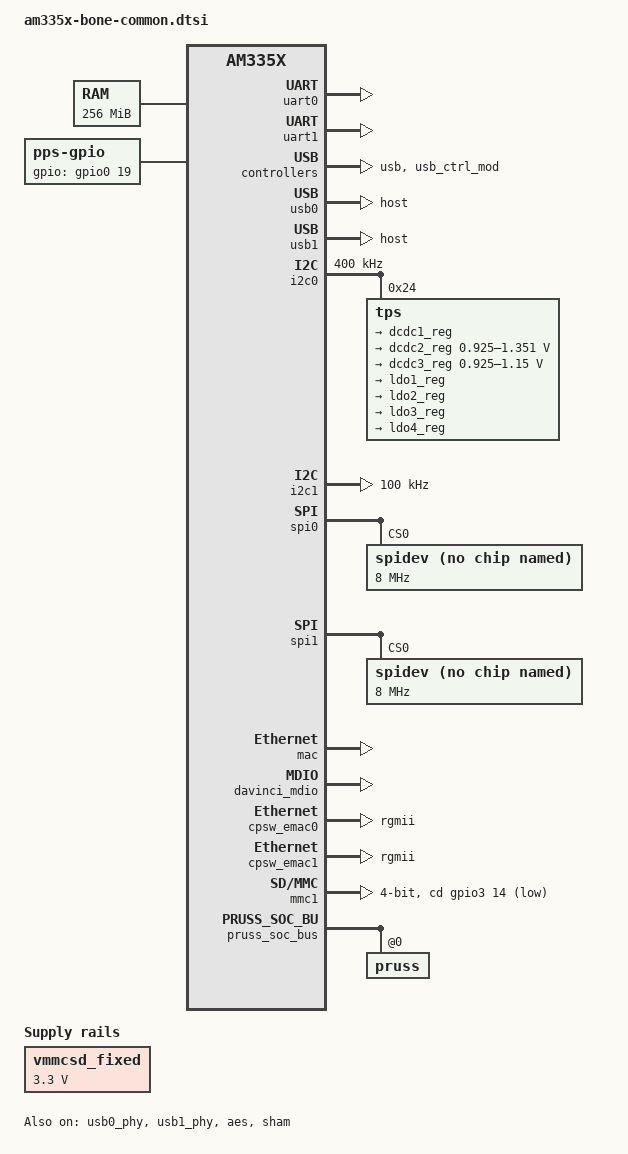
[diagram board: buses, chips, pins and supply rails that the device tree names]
/*
 * Copyright (C) 2012 Texas Instruments Incorporated - http://www.ti.com/
 *
 * This program is free software; you can redistribute it and/or modify
 * it under the terms of the GNU General Public License version 2 as
 * published by the Free Software Foundation.
 */

/ {
	cpus {
		cpu@0 {
			cpu0-supply = <&dcdc2_reg>;
		};
	};

	memory@80000000 {
		device_type = "memory";
		reg = <0x80000000 0x10000000>; /* 256 MB */
	};

	chosen {
		stdout-path = &uart0;
	};
	pps {
		pinctrl-names = "default";
		gpios = <&gpio0 19 GPIO_ACTIVE_HIGH>;
		assert-rising-edge;

		compatible = "pps-gpio";
		status = "okay";
	};

	leds {
		pinctrl-names = "default";
		pinctrl-0 = <&user_leds_s0>;

		compatible = "gpio-leds";

		/*led2 {
			label = "beaglebone:green:heartbeat";
			gpios = <&gpio3 16 GPIO_ACTIVE_LOW>;
			linux,default-trigger = "heartbeat";
			default-state = "off";
		};*/

		/*led3 {
			label = "beaglebone:green:mmc0";
			gpios = <&gpio3 17 GPIO_ACTIVE_LOW>;
			linux,default-trigger = "mmc0";
			default-state = "off";
		};*/

		/*led4 {
			label = "beaglebone:green:usr2";
			gpios = <&gpio3 19 GPIO_ACTIVE_LOW>;
			linux,default-trigger = "cpu0";
			default-state = "off";
		};*/
	};
	
    /*gpio_buttons: gpio_buttons0 {
		compatible = "gpio-keys";
		#address-cells = <1>;
		#size-cells = <0>;

		switch1 {
			label = "button0";
			linux,code = <0x100>;
			gpios = <&gpio0 18 GPIO_ACTIVE_LOW>;
		};

		switch2 {
			label = "button1";
			linux,code = <0x101>;
			gpios = <&gpio0 20 GPIO_ACTIVE_LOW>;
		};

		switch3 {
			label = "button2";
			linux,code = <0x102>;
			gpios = <&gpio3 13 GPIO_ACTIVE_LOW>;
		};

		switch4 {
			label = "button3";
			linux,code = <0x103>;
			gpios = <&gpio3 20 GPIO_ACTIVE_LOW>;
		};
	};*/

	vmmcsd_fixed: fixedregulator0 {
		compatible = "regulator-fixed";
		regulator-name = "vmmcsd_fixed";
		regulator-min-microvolt = <3300000>;
		regulator-max-microvolt = <3300000>;
	};
};

&am33xx_pinmux {
	pinctrl-names = "default";
	pinctrl-0 = <&gpio_keys_s0 &clkout1_pin>;

	user_leds_s0: user_leds_s0 {
		pinctrl-single,pins = <
			/*AM33XX_IOPAD(0x998, PIN_OUTPUT_PULLDOWN | MUX_MODE7)*/	/* mcasp0_axr0.gpio3_16 */
			/*AM33XX_IOPAD(0x99c, PIN_OUTPUT_PULLDOWN | MUX_MODE7)*/	/* mcasp0_ahclkr.gpio3_17 */
			/*AM33XX_IOPAD(0x9a4, PIN_OUTPUT_PULLDOWN | MUX_MODE7)*/	/* mcasp0_fsr.gpio3_19 */
			AM33XX_IOPAD(0x9a0, PIN_INPUT_PULLUP | MUX_MODE7)	/* mcasp0_aclkr.gpio3_18 RGMII1_nRST*/
			AM33XX_IOPAD(0x998, PIN_INPUT_PULLUP | MUX_MODE7)	/* mcasp0_axr0.gpio3_16  RGMII2_nRST*/
			AM33XX_IOPAD(0xa1c, PIN_INPUT_PULLUP | MUX_MODE7)	/* usb0_drvvbus.gpio0_18 RESET_GPS*/
			AM33XX_IOPAD(0xa34, PIN_INPUT_PULLUP | MUX_MODE7)	/* usb1_drvvbus.gpio3_13 EXTINT_GPS*/
			AM33XX_IOPAD(0x820, PIN_INPUT_PULLUP | MUX_MODE7)	/* gpmc_ad8.gpio0_22 PWM2A*/
			AM33XX_IOPAD(0x824, PIN_INPUT_PULLUP | MUX_MODE7)	/* gpmc_ad9.gpio0_23 PWM2B*/
		>;
	};
	
	gpio_keys_s0: gpio_keys_s0 {
		pinctrl-single,pins = <
		    AM33XX_IOPAD(0x99c, PIN_INPUT_PULLUP | MUX_MODE7)	/* mcasp0_ahclkr.gpio3_17 S1 */
		    AM33XX_IOPAD(0x8e0, PIN_INPUT_PULLUP | MUX_MODE7)	/* lcd_vsync.gpio2_22  S2 */
		    AM33XX_IOPAD(0x8e8, PIN_INPUT_PULLUP | MUX_MODE7)	/* lcd_pclk.gpio2_24   S3 */
		    AM33XX_IOPAD(0x8a8, PIN_INPUT_PULLUP | MUX_MODE7)	/* lcd_data2.gpio2_8   S4 */
		
			AM33XX_IOPAD(0x830, PIN_INPUT_PULLUP | MUX_MODE7)	/* gpmc_ad12.gpio1_12 1DO */
			AM33XX_IOPAD(0x82c, PIN_INPUT_PULLUP | MUX_MODE7)	/* gpmc_ad11.gpio0_27 2DO */
			AM33XX_IOPAD(0x888, PIN_INPUT_PULLUP | MUX_MODE7)	/* gpmc_csn3.gpio2_0  3DO */
			AM33XX_IOPAD(0x88c, PIN_INPUT_PULLUP | MUX_MODE7)	/* gpmc_clk.gpio2_1   4DO */
			
			AM33XX_IOPAD(0x8e4, PIN_INPUT_PULLUP | MUX_MODE7)	/* lcd_hsync.gpio2_23       1DI */
			AM33XX_IOPAD(0x8ec, PIN_INPUT_PULLUP | MUX_MODE7)	/* lcd_ac_bias_en.gpio2_25  2DI */
			AM33XX_IOPAD(0x890, PIN_INPUT_PULLUP | MUX_MODE7)	/* gpmc_advn_ale.gpio2_2    3DI */
			AM33XX_IOPAD(0x834, PIN_INPUT_PULLUP | MUX_MODE7)	/* gpmc_ad13.gpio1_13       4DI */
			
			AM33XX_IOPAD(0x87c, PIN_INPUT_PULLUP | MUX_MODE7)	/* gpmc_csn0.gpio1_29       SX1301_RESET */
			AM33XX_IOPAD(0x994, PIN_INPUT_PULLUP | MUX_MODE7)	/* mcasp0_fsx.gpio3_15      SX1301_GPIO4 */
			AM33XX_IOPAD(0x9a4, PIN_INPUT_PULLUP | MUX_MODE7)	/* mcasp0_fsr.gpio3_19      SX1301_GPIO3 */
			AM33XX_IOPAD(0x9a8, PIN_INPUT_PULLUP | MUX_MODE7)	/* mcasp0_axr1.gpio3_20     SX1301_GPIO2 */
			AM33XX_IOPAD(0x9b4, PIN_INPUT_PULLUP | MUX_MODE7)	/* xdma_event_intr1.gpio0_20 SX1301_GPIO0 */
			AM33XX_IOPAD(0x9ac, PIN_INPUT_PULLUP | MUX_MODE7)	/* mcasp0_ahclkx.gpio3_21   SX1301_GPIO1 */
		>;
	};

	i2c0_pins: pinmux_i2c0_pins {
		pinctrl-single,pins = <
			AM33XX_IOPAD(0x988, PIN_INPUT_PULLUP | MUX_MODE0)	/* i2c0_sda.i2c0_sda */
			AM33XX_IOPAD(0x98c, PIN_INPUT_PULLUP | MUX_MODE0)	/* i2c0_scl.i2c0_scl */
		>;
	};

	i2c1_pins: pinmux_i2c1_pins {
		pinctrl-single,pins = <
			AM33XX_IOPAD(0x968, PIN_INPUT_PULLUP | MUX_MODE3)	/* uart0_ctsn.i2c1_sda */
			AM33XX_IOPAD(0x96c, PIN_INPUT_PULLUP | MUX_MODE3)	/* uart0_rtsn.i2c1_scl */
		>;
	};

	uart0_pins: pinmux_uart0_pins {
		pinctrl-single,pins = <
			AM33XX_IOPAD(0x970, PIN_INPUT_PULLUP | MUX_MODE0)	/* uart0_rxd.uart0_rxd */
			AM33XX_IOPAD(0x974, PIN_OUTPUT_PULLDOWN | MUX_MODE0)	/* uart0_txd.uart0_txd */
		>;
	};
	
	uart1_pins: pinmux_uart1_pins {
		pinctrl-single,pins = <
			AM33XX_IOPAD(0x980, PIN_INPUT_PULLUP | MUX_MODE0)	/* uart1_rxd.uart1_rxd */
			AM33XX_IOPAD(0x984, PIN_OUTPUT_PULLDOWN | MUX_MODE0)	/* uart1_txd.uart1_txd */
		>;
	};
	
	spi0_pins: pinmux_spi0_pins {
		pinctrl-single,pins = <
			AM33XX_IOPAD(0x950, PIN_INPUT_PULLUP | MUX_MODE0) /* spi0_sclk.spi0_sclk */
			AM33XX_IOPAD(0x95C, PIN_INPUT_PULLUP | MUX_MODE0) /* spi0_cs0.spi0_cs0 */
			AM33XX_IOPAD(0x954, PIN_INPUT_PULLUP | MUX_MODE0) /* spi0_d0.spi0_d0 */
			AM33XX_IOPAD(0x958, PIN_INPUT_PULLUP | MUX_MODE0) /* spi0_d1.spi0_d1 */
		>;
	};
	
    spi1_pins: pinmux_spi1_pins {
		pinctrl-single,pins = <
			AM33XX_IOPAD(0x908, PIN_INPUT_PULLUP | MUX_MODE2) /* mii1_col.spi1_sclk */
			AM33XX_IOPAD(0x944, PIN_INPUT_PULLUP | MUX_MODE2) /* rmii1_ref_clk.spi1_cs0 */
			AM33XX_IOPAD(0x90c, PIN_INPUT_PULLUP | MUX_MODE2) /* mii1_crs.spi1_d0 */
			AM33XX_IOPAD(0x910, PIN_INPUT_PULLUP | MUX_MODE2) /* mii1_rx_er.spi0_d1 */
		>;
	};
	
	clkout1_pin: pinmux_clkout1_pin {
		pinctrl-single,pins = <
			AM33XX_IOPAD(0x9b0, PIN_INPUT_PULLUP | MUX_MODE7)	/* xdma_event_intr0.gpio0_19 */
		>;
	};

	cpsw_default: cpsw_default {
		pinctrl-single,pins = <
			/* Slave 1 */
			AM33XX_IOPAD(0x914, PIN_OUTPUT_PULLDOWN | MUX_MODE2)	/* mii1_txen.rgmii1_tctl */
			AM33XX_IOPAD(0x918, PIN_INPUT_PULLDOWN | MUX_MODE2)	    /* mii1_rxdv.rgmii1_rctl */
			AM33XX_IOPAD(0x91c, PIN_OUTPUT_PULLDOWN | MUX_MODE2)	/* mii1_txd3.rgmii1_td3 */
			AM33XX_IOPAD(0x920, PIN_OUTPUT_PULLDOWN | MUX_MODE2)	/* mii1_txd2.rgmii1_td2 */
			AM33XX_IOPAD(0x924, PIN_OUTPUT_PULLDOWN | MUX_MODE2)	/* mii1_txd1.rgmii1_td1 */
			AM33XX_IOPAD(0x928, PIN_OUTPUT_PULLDOWN | MUX_MODE2)	/* mii1_txd0.rgmii1_td0 */
			AM33XX_IOPAD(0x92c, PIN_OUTPUT_PULLDOWN | MUX_MODE2)	/* mii1_txclk.rgmii1_tclk */
			AM33XX_IOPAD(0x930, PIN_INPUT_PULLDOWN | MUX_MODE2)	/* mii1_rxclk.rgmii1_rclk */
			AM33XX_IOPAD(0x934, PIN_INPUT_PULLDOWN | MUX_MODE2)	/* mii1_rxd3.rgmii1_rd3 */
			AM33XX_IOPAD(0x938, PIN_INPUT_PULLDOWN | MUX_MODE2)	/* mii1_rxd2.rgmii1_rd2 */
			AM33XX_IOPAD(0x93c, PIN_INPUT_PULLDOWN | MUX_MODE2)	/* mii1_rxd1.rgmii1_rd1 */
			AM33XX_IOPAD(0x940, PIN_INPUT_PULLDOWN | MUX_MODE2)	/* mii1_rxd0.rgmii1_rd0 */
			
			/* Slave 2 */
			AM33XX_IOPAD(0x840, PIN_OUTPUT_PULLDOWN | MUX_MODE2)	/* gpmc_a0.rgmii2_tctl */
			AM33XX_IOPAD(0x844, PIN_INPUT_PULLDOWN | MUX_MODE2)	    /* gpmc_a1.rgmii2_rctl */
			AM33XX_IOPAD(0x848, PIN_OUTPUT_PULLDOWN | MUX_MODE2)    /* gpmc_a2.rgmii2_td3 */
			AM33XX_IOPAD(0x84c, PIN_OUTPUT_PULLDOWN | MUX_MODE2)	/* gpmc_a3.rgmii2_td2 */
			AM33XX_IOPAD(0x850, PIN_OUTPUT_PULLDOWN | MUX_MODE2)	/* gpmc_a4.rgmii2_td1 */
			AM33XX_IOPAD(0x854, PIN_OUTPUT_PULLDOWN | MUX_MODE2)	/* gpmc_a5.rgmii2_td0 */
			AM33XX_IOPAD(0x858, PIN_OUTPUT_PULLDOWN | MUX_MODE2)	/* gpmc_a6.rgmii2_tclk */
			AM33XX_IOPAD(0x85c, PIN_INPUT_PULLDOWN | MUX_MODE2)	/* gpmc_a7.rgmii2_rclk */
			AM33XX_IOPAD(0x860, PIN_INPUT_PULLDOWN | MUX_MODE2)	/* gpmc_a8.rgmii2_rd3 */
			AM33XX_IOPAD(0x864, PIN_INPUT_PULLDOWN | MUX_MODE2)	/* gpmc_a9.rgmii2_rd2 */
			AM33XX_IOPAD(0x868, PIN_INPUT_PULLDOWN | MUX_MODE2)	/* gpmc_a10.rgmii2_rd1 */
			AM33XX_IOPAD(0x86c, PIN_INPUT_PULLDOWN | MUX_MODE2)	/* gpmc_a11.rgmii2_rd0 */
		>;
	};
	
	cpsw_sleep: cpsw_sleep {
		pinctrl-single,pins = <
			/* Slave 1 reset value */
			AM33XX_IOPAD(0x914, PIN_INPUT_PULLDOWN | MUX_MODE7)
			AM33XX_IOPAD(0x918, PIN_INPUT_PULLDOWN | MUX_MODE7)
			AM33XX_IOPAD(0x91c, PIN_INPUT_PULLDOWN | MUX_MODE7)
			AM33XX_IOPAD(0x920, PIN_INPUT_PULLDOWN | MUX_MODE7)
			AM33XX_IOPAD(0x924, PIN_INPUT_PULLDOWN | MUX_MODE7)
			AM33XX_IOPAD(0x928, PIN_INPUT_PULLDOWN | MUX_MODE7)
			AM33XX_IOPAD(0x92c, PIN_INPUT_PULLDOWN | MUX_MODE7)
			AM33XX_IOPAD(0x930, PIN_INPUT_PULLDOWN | MUX_MODE7)
			AM33XX_IOPAD(0x934, PIN_INPUT_PULLDOWN | MUX_MODE7)
			AM33XX_IOPAD(0x938, PIN_INPUT_PULLDOWN | MUX_MODE7)
			AM33XX_IOPAD(0x93c, PIN_INPUT_PULLDOWN | MUX_MODE7)
			AM33XX_IOPAD(0x940, PIN_INPUT_PULLDOWN | MUX_MODE7)
			
			/* Slave 2 reset value*/
			AM33XX_IOPAD(0x840, PIN_INPUT_PULLDOWN | MUX_MODE7)
			AM33XX_IOPAD(0x844, PIN_INPUT_PULLDOWN | MUX_MODE7)
			AM33XX_IOPAD(0x848, PIN_INPUT_PULLDOWN | MUX_MODE7)
			AM33XX_IOPAD(0x84c, PIN_INPUT_PULLDOWN | MUX_MODE7)
			AM33XX_IOPAD(0x850, PIN_INPUT_PULLDOWN | MUX_MODE7)
			AM33XX_IOPAD(0x854, PIN_INPUT_PULLDOWN | MUX_MODE7)
			AM33XX_IOPAD(0x858, PIN_INPUT_PULLDOWN | MUX_MODE7)
			AM33XX_IOPAD(0x85c, PIN_INPUT_PULLDOWN | MUX_MODE7)
			AM33XX_IOPAD(0x860, PIN_INPUT_PULLDOWN | MUX_MODE7)
			AM33XX_IOPAD(0x864, PIN_INPUT_PULLDOWN | MUX_MODE7)
			AM33XX_IOPAD(0x868, PIN_INPUT_PULLDOWN | MUX_MODE7)
			AM33XX_IOPAD(0x86c, PIN_INPUT_PULLDOWN | MUX_MODE7)
		>;
	};

	davinci_mdio_default: davinci_mdio_default {
		pinctrl-single,pins = <
			/* MDIO */
			AM33XX_IOPAD(0x948, PIN_INPUT_PULLUP | SLEWCTRL_FAST | MUX_MODE0)	/* mdio_data.mdio_data */
			AM33XX_IOPAD(0x94c, PIN_OUTPUT_PULLUP | MUX_MODE0)			/* mdio_clk.mdio_clk */
		>;
	};

	davinci_mdio_sleep: davinci_mdio_sleep {
		pinctrl-single,pins = <
			/* MDIO reset value */
			AM33XX_IOPAD(0x948, PIN_INPUT_PULLDOWN | MUX_MODE7)
			AM33XX_IOPAD(0x94c, PIN_INPUT_PULLDOWN | MUX_MODE7)
		>;
	};

	mmc1_pins: pinmux_mmc1_pins {
		pinctrl-single,pins = <
			AM33XX_IOPAD(0x990, PIN_INPUT | MUX_MODE7)          /* mcasp0_aclkx.gpio3_14 */
			AM33XX_IOPAD(0x8fc, PIN_INPUT_PULLUP | MUX_MODE0)	/* mmc0_dat0.mmc0_dat0 */
			AM33XX_IOPAD(0x8f8, PIN_INPUT_PULLUP | MUX_MODE0)	/* mmc0_dat1.mmc0_dat1 */
			AM33XX_IOPAD(0x8f4, PIN_INPUT_PULLUP | MUX_MODE0)	/* mmc0_dat2.mmc0_dat2 */
			AM33XX_IOPAD(0x8f0, PIN_INPUT_PULLUP | MUX_MODE0)	/* mmc0_dat3.mmc0_dat3 */
			AM33XX_IOPAD(0x904, PIN_INPUT_PULLUP | MUX_MODE0)	/* mmc0_cmd.mmc0_cmd */
			AM33XX_IOPAD(0x900, PIN_INPUT_PULLUP | MUX_MODE0)	/* mmc0_clk.mmc0_clk */
		>;
	};

	emmc_pins: pinmux_emmc_pins {
		pinctrl-single,pins = <
			AM33XX_IOPAD(0x880, PIN_INPUT_PULLUP | MUX_MODE2) /* gpmc_csn1.mmc1_clk */
			AM33XX_IOPAD(0x884, PIN_INPUT_PULLUP | MUX_MODE2) /* gpmc_csn2.mmc1_cmd */
			AM33XX_IOPAD(0x800, PIN_INPUT_PULLUP | MUX_MODE1) /* gpmc_ad0.mmc1_dat0 */
			AM33XX_IOPAD(0x804, PIN_INPUT_PULLUP | MUX_MODE1) /* gpmc_ad1.mmc1_dat1 */
			AM33XX_IOPAD(0x808, PIN_INPUT_PULLUP | MUX_MODE1) /* gpmc_ad2.mmc1_dat2 */
			AM33XX_IOPAD(0x80c, PIN_INPUT_PULLUP | MUX_MODE1) /* gpmc_ad3.mmc1_dat3 */
			AM33XX_IOPAD(0x810, PIN_INPUT_PULLUP | MUX_MODE1) /* gpmc_ad4.mmc1_dat4 */
			AM33XX_IOPAD(0x814, PIN_INPUT_PULLUP | MUX_MODE1) /* gpmc_ad5.mmc1_dat5 */
			AM33XX_IOPAD(0x818, PIN_INPUT_PULLUP | MUX_MODE1) /* gpmc_ad6.mmc1_dat6 */
			AM33XX_IOPAD(0x81c, PIN_INPUT_PULLUP | MUX_MODE1) /* gpmc_ad7.mmc1_dat7 */
		>;
	};
};

&uart0 {
	pinctrl-names = "default";
	pinctrl-0 = <&uart0_pins>;

	status = "okay";
};

&uart1 {
	pinctrl-names = "default";
	pinctrl-0 = <&uart1_pins>;

	status = "okay";
};

&usb {
	status = "okay";
};

&usb_ctrl_mod {
	status = "okay";
};

&usb0_phy {
	status = "okay";
};

&usb1_phy {
	status = "okay";
};

&usb0 {
	status = "okay";
	dr_mode = "host";
};

&usb1 {
	status = "okay";
	dr_mode = "host";
};

&cppi41dma  {
	status = "okay";
};

&i2c0 {
	pinctrl-names = "default";
	pinctrl-0 = <&i2c0_pins>;

	status = "okay";
	clock-frequency = <400000>;

	tps: tps@24 {
		reg = <0x24>;
	};
};

&i2c1 {
	pinctrl-names = "default";
	pinctrl-0 = <&i2c1_pins>;

	status = "okay";
	clock-frequency = <100000>;
};

&spi0 {
	status = "okay";
	pinctrl-names = "default";
	pinctrl-0 = <&spi0_pins>;
	ti,pindir-d0-out-d1-in;
	spidev@1 {
        spi-max-frequency = <8000000>;
        reg = <0>;
        compatible = "rohm,dh2228fv";
    };
    
    /*spidev2: spi@2 {
		compatible = "spidev";
		reg = <0>;
		spi-max-frequency = <8000000>;
	};*/
};

&spi1 {
	status = "okay";
	pinctrl-names = "default";
	pinctrl-0 = <&spi1_pins>;
	ti,pindir-d0-out-d1-in;
	spidev@1 {
        spi-max-frequency = <8000000>;
        reg = <0>;
        compatible = "rohm,dh2228fv";
    };
    
    /*spidev2: spi@2 {
		compatible = "spidev";
		reg = <0>;
		spi-max-frequency = <8000000>;
	};*/
};


/include/ "tps65217.dtsi"

&tps {
	/*
	 * Configure pmic to enter OFF-state instead of SLEEP-state ("RTC-only
	 * mode") at poweroff.  Most BeagleBone versions do not support RTC-only
	 * mode and risk hardware damage if this mode is entered.
	 *
	 * For details, see linux-omap mailing list May 2015 thread
	 *	[PATCH] ARM: dts: am335x-bone* enable pmic-shutdown-controller
	 * In particular, messages:
	 *	http://www.spinics.net/lists/linux-omap/msg118585.html
	 *	http://www.spinics.net/lists/linux-omap/msg118615.html
	 *
	 * You can override this later with
	 *	&tps {  /delete-property/ ti,pmic-shutdown-controller;  }
	 * if you want to use RTC-only mode and made sure you are not affected
	 * by the hardware problems. (Tip: double-check by performing a current
	 * measurement after shutdown: it should be less than 1 mA.)
	 */

	interrupts = <7>; /* NMI */
	interrupt-parent = <&intc>;

	ti,pmic-shutdown-controller;

	charger {
		status = "okay";
	};

	pwrbutton {
		status = "okay";
	};

	regulators {
		dcdc1_reg: regulator@0 {
			regulator-name = "vdds_dpr";
			regulator-always-on;
		};

		dcdc2_reg: regulator@1 {
			/* VDD_MPU voltage limits 0.95V - 1.26V with +/-4% tolerance */
			regulator-name = "vdd_mpu";
			regulator-min-microvolt = <925000>;
			regulator-max-microvolt = <1351500>;
			regulator-boot-on;
			regulator-always-on;
		};

		dcdc3_reg: regulator@2 {
			/* VDD_CORE voltage limits 0.95V - 1.1V with +/-4% tolerance */
			regulator-name = "vdd_core";
			regulator-min-microvolt = <925000>;
			regulator-max-microvolt = <1150000>;
			regulator-boot-on;
			regulator-always-on;
		};

		ldo1_reg: regulator@3 {
			regulator-name = "vio,vrtc,vdds";
			regulator-always-on;
		};

		ldo2_reg: regulator@4 {
			regulator-name = "vdd_3v3aux";
			regulator-always-on;
		};

		ldo3_reg: regulator@5 {
			regulator-name = "vdd_1v8";
			regulator-always-on;
		};

		ldo4_reg: regulator@6 {
			regulator-name = "vdd_3v3a";
			regulator-always-on;
		};
	};
};

&mac {
	pinctrl-names = "default", "sleep";
	pinctrl-0 = <&cpsw_default>;
	pinctrl-1 = <&cpsw_sleep>;
	dual_emac = <1>;
	status = "okay";
};

&davinci_mdio {
	pinctrl-names = "default", "sleep";
	pinctrl-0 = <&davinci_mdio_default>;
	pinctrl-1 = <&davinci_mdio_sleep>;
	status = "okay";
};

&cpsw_emac0 {
	phy_id = <&davinci_mdio>, <2>;
	phy-mode = "rgmii";
	dual_emac_res_vlan = <1>;
};

&cpsw_emac1 {
	phy_id = <&davinci_mdio>, <4>;
	phy-mode = "rgmii";
	dual_emac_res_vlan = <2>;
};

&mmc1 {
	status = "okay";
	bus-width = <0x4>;
	pinctrl-names = "default";
	pinctrl-0 = <&mmc1_pins>;
	cd-gpios = <&gpio3 14 GPIO_ACTIVE_LOW>;
};

&aes {
	status = "okay";
};

&sham {
	status = "okay";
};

&rtc {
	clocks = <&clk_32768_ck>, <&clkdiv32k_ick>;
	clock-names = "ext-clk", "int-clk";
	system-power-controller;
};

&wkup_m3_ipc {
	ti,scale-data-fw = "am335x-bone-scale-data.bin";
};

&pruss_soc_bus {
	status = "okay";

	pruss: pruss@0 {
		status = "okay";
	};
};
